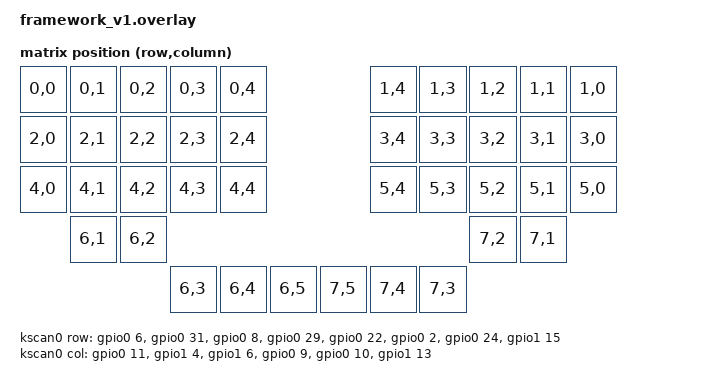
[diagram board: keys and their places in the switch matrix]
/*
 * Copyright (c) 2021 The ZMK Contributors
 *
 * SPDX-License-Identifier: MIT
 */

#include <dt-bindings/zmk/matrix_transform.h>

/ {
    chosen {
        zmk,kscan = &kscan0;
        zmk,matrix_transform = &default_transform;
    };
 
    default_transform: keymap_transform_0 {
        compatible = "zmk,matrix-transform";
        columns = <5>;
        rows = <8>;
        map = <
    RC(0,0) RC(0,1) RC(0,2) RC(0,3) RC(0,4)                     RC(1,4) RC(1,3) RC(1,2) RC(1,1) RC(1,0)
    RC(2,0) RC(2,1) RC(2,2) RC(2,3) RC(2,4)                     RC(3,4) RC(3,3) RC(3,2) RC(3,1) RC(3,0)
    RC(4,0) RC(4,1) RC(4,2) RC(4,3) RC(4,4)                     RC(5,4) RC(5,3) RC(5,2) RC(5,1) RC(5,0)
            RC(6,1) RC(6,2)                                                     RC(7,2) RC(7,1)
                            RC(6,3) RC(6,4) RC(6,5)     RC(7,5) RC(7,4) RC(7,3)
        >;
    };
    
    kscan0: kscan_0 {
        compatible = "zmk,kscan-gpio-matrix";
        label = "KSCAN";
        diode-direction = "col2row";

        // nrfmicro_13
        // col-gpios
        //     = <&gpio0 9 GPIO_ACTIVE_HIGH>
        //     , <&gpio0 10  GPIO_ACTIVE_HIGH>
        //     , <&gpio1 6  GPIO_ACTIVE_HIGH>
        //     , <&gpio1 11  GPIO_ACTIVE_HIGH>
        //     , <&gpio0 28 GPIO_ACTIVE_HIGH>
        //     , <&gpio1 13 GPIO_ACTIVE_HIGH>
        //     ;

        // row-gpios
        //     = <&gpio0 6  (GPIO_ACTIVE_HIGH | GPIO_PULL_DOWN)>
        //     , <&gpio0 30 (GPIO_ACTIVE_HIGH | GPIO_PULL_DOWN)>
        //     , <&gpio0 8  (GPIO_ACTIVE_HIGH | GPIO_PULL_DOWN)>
        //     , <&gpio0 31 (GPIO_ACTIVE_HIGH | GPIO_PULL_DOWN)>
        //     , <&gpio0 20 (GPIO_ACTIVE_HIGH | GPIO_PULL_DOWN)>
        //     , <&gpio0 29  (GPIO_ACTIVE_HIGH | GPIO_PULL_DOWN)>
        //     , <&gpio0 13 (GPIO_ACTIVE_HIGH | GPIO_PULL_DOWN)>
        //     , <&gpio1 02 (GPIO_ACTIVE_HIGH | GPIO_PULL_DOWN)>
        //     ;

        // nice nano
        col-gpios
            = <&gpio0 11 GPIO_ACTIVE_HIGH>
            , <&gpio1  4 GPIO_ACTIVE_HIGH>
            , <&gpio1  6 GPIO_ACTIVE_HIGH>
            , <&gpio0  9 GPIO_ACTIVE_HIGH>
            , <&gpio0 10 GPIO_ACTIVE_HIGH>
            , <&gpio1 13 GPIO_ACTIVE_HIGH>
            ;

        row-gpios
            = <&gpio0  6 (GPIO_ACTIVE_HIGH | GPIO_PULL_DOWN)>
            , <&gpio0 31 (GPIO_ACTIVE_HIGH | GPIO_PULL_DOWN)>
            , <&gpio0  8 (GPIO_ACTIVE_HIGH | GPIO_PULL_DOWN)>
            , <&gpio0 29 (GPIO_ACTIVE_HIGH | GPIO_PULL_DOWN)>
            , <&gpio0 22 (GPIO_ACTIVE_HIGH | GPIO_PULL_DOWN)>
            , <&gpio0  2 (GPIO_ACTIVE_HIGH | GPIO_PULL_DOWN)>
            , <&gpio0 24 (GPIO_ACTIVE_HIGH | GPIO_PULL_DOWN)>
            , <&gpio1 15 (GPIO_ACTIVE_HIGH | GPIO_PULL_DOWN)>
            ;

        // pro micro
        // col-gpios
        //     = <&pro_micro 7 GPIO_ACTIVE_HIGH>
        //     , <&pro_micro 8  GPIO_ACTIVE_HIGH>
        //     , <&pro_micro 9  GPIO_ACTIVE_HIGH>
        //     , <&pro_micro 10  GPIO_ACTIVE_HIGH>
        //     , <&pro_micro 16 GPIO_ACTIVE_HIGH>
        //     , <&pro_micro 15 GPIO_ACTIVE_HIGH>
        //     ;

        // row-gpios
        //     = <&pro_micro 1  (GPIO_ACTIVE_HIGH | GPIO_PULL_DOWN)>
        //     , <&pro_micro 21 (GPIO_ACTIVE_HIGH | GPIO_PULL_DOWN)>
        //     , <&pro_micro 0  (GPIO_ACTIVE_HIGH | GPIO_PULL_DOWN)>
        //     , <&pro_micro 20 (GPIO_ACTIVE_HIGH | GPIO_PULL_DOWN)>
        //     , <&pro_micro 4 (GPIO_ACTIVE_HIGH | GPIO_PULL_DOWN)>
        //     , <&pro_micro 19  (GPIO_ACTIVE_HIGH | GPIO_PULL_DOWN)>
        //     , <&pro_micro 5 (GPIO_ACTIVE_HIGH | GPIO_PULL_DOWN)>
        //     , <&pro_micro 18 (GPIO_ACTIVE_HIGH | GPIO_PULL_DOWN)>
        //     ;
    };
};
